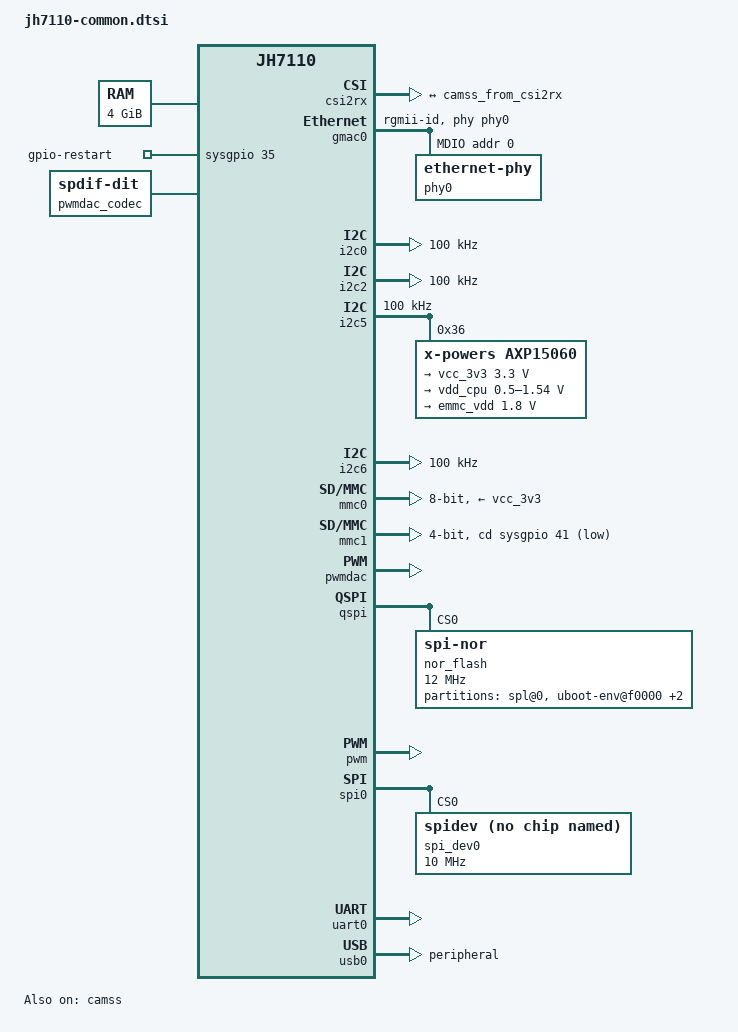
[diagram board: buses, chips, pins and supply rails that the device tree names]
// SPDX-License-Identifier: GPL-2.0 OR MIT
/*
 * Copyright (C) 2022 StarFive Technology Co., Ltd.
 * Copyright (C) 2022 Emil Renner Berthing <kernel@esmil.dk>
 */

/dts-v1/;
#include "jh7110.dtsi"
#include "jh7110-pinfunc.h"
#include <dt-bindings/gpio/gpio.h>

/ {
	aliases {
		ethernet0 = &gmac0;
		i2c0 = &i2c0;
		i2c2 = &i2c2;
		i2c5 = &i2c5;
		i2c6 = &i2c6;
		mmc0 = &mmc0;
		mmc1 = &mmc1;
		serial0 = &uart0;
	};

	chosen {
		stdout-path = "serial0:115200n8";
	};

	memory@40000000 {
		device_type = "memory";
		reg = <0x0 0x40000000 0x1 0x0>;
	};

	gpio-restart {
		compatible = "gpio-restart";
		gpios = <&sysgpio 35 GPIO_ACTIVE_HIGH>;
		priority = <224>;
	};

	pwmdac_codec: audio-codec {
		compatible = "linux,spdif-dit";
		#sound-dai-cells = <0>;
	};

	sound {
		compatible = "simple-audio-card";
		simple-audio-card,name = "StarFive-PWMDAC-Sound-Card";
		#address-cells = <1>;
		#size-cells = <0>;

		simple-audio-card,dai-link@0 {
			reg = <0>;
			format = "left_j";
			bitclock-master = <&sndcpu0>;
			frame-master = <&sndcpu0>;

			sndcpu0: cpu {
				sound-dai = <&pwmdac>;
			};

			codec {
				sound-dai = <&pwmdac_codec>;
			};
		};
	};
};

&cpus {
	timebase-frequency = <4000000>;
};

&dvp_clk {
	clock-frequency = <74250000>;
};

&gmac0_rgmii_rxin {
	clock-frequency = <125000000>;
};

&gmac0_rmii_refin {
	clock-frequency = <50000000>;
};

&gmac1_rgmii_rxin {
	clock-frequency = <125000000>;
};

&gmac1_rmii_refin {
	clock-frequency = <50000000>;
};

&hdmitx0_pixelclk {
	clock-frequency = <297000000>;
};

&i2srx_bclk_ext {
	clock-frequency = <12288000>;
};

&i2srx_lrck_ext {
	clock-frequency = <192000>;
};

&i2stx_bclk_ext {
	clock-frequency = <12288000>;
};

&i2stx_lrck_ext {
	clock-frequency = <192000>;
};

&mclk_ext {
	clock-frequency = <12288000>;
};

&osc {
	clock-frequency = <24000000>;
};

&rtc_osc {
	clock-frequency = <32768>;
};

&tdm_ext {
	clock-frequency = <49152000>;
};

&camss {
	assigned-clocks = <&ispcrg JH7110_ISPCLK_DOM4_APB_FUNC>,
			  <&ispcrg JH7110_ISPCLK_MIPI_RX0_PXL>;
	assigned-clock-rates = <49500000>, <198000000>;
	status = "okay";

	ports {
		#address-cells = <1>;
		#size-cells = <0>;

		port@0 {
			reg = <0>;
		};

		port@1 {
			reg = <1>;

			camss_from_csi2rx: endpoint {
				remote-endpoint = <&csi2rx_to_camss>;
			};
		};
	};
};

&csi2rx {
	assigned-clocks = <&ispcrg JH7110_ISPCLK_VIN_SYS>;
	assigned-clock-rates = <297000000>;
	status = "okay";

	ports {
		#address-cells = <1>;
		#size-cells = <0>;

		port@0 {
			reg = <0>;

			/* remote MIPI sensor endpoint */
		};

		port@1 {
			reg = <1>;

			csi2rx_to_camss: endpoint {
				remote-endpoint = <&camss_from_csi2rx>;
			};
		};
	};
};

&gmac0 {
	phy-handle = <&phy0>;
	phy-mode = "rgmii-id";
	status = "okay";

	mdio {
		#address-cells = <1>;
		#size-cells = <0>;
		compatible = "snps,dwmac-mdio";

		phy0: ethernet-phy@0 {
			reg = <0>;
		};
	};
};

&i2c0 {
	clock-frequency = <100000>;
	i2c-sda-hold-time-ns = <300>;
	i2c-sda-falling-time-ns = <510>;
	i2c-scl-falling-time-ns = <510>;
	pinctrl-names = "default";
	pinctrl-0 = <&i2c0_pins>;
	status = "okay";
};

&i2c2 {
	clock-frequency = <100000>;
	i2c-sda-hold-time-ns = <300>;
	i2c-sda-falling-time-ns = <510>;
	i2c-scl-falling-time-ns = <510>;
	pinctrl-names = "default";
	pinctrl-0 = <&i2c2_pins>;
	status = "okay";
};

&i2c5 {
	clock-frequency = <100000>;
	i2c-sda-hold-time-ns = <300>;
	i2c-sda-falling-time-ns = <510>;
	i2c-scl-falling-time-ns = <510>;
	pinctrl-names = "default";
	pinctrl-0 = <&i2c5_pins>;
	status = "okay";

	axp15060: pmic@36 {
		compatible = "x-powers,axp15060";
		reg = <0x36>;
		interrupt-controller;
		#interrupt-cells = <1>;

		regulators {
			vcc_3v3: dcdc1 {
				regulator-boot-on;
				regulator-always-on;
				regulator-min-microvolt = <3300000>;
				regulator-max-microvolt = <3300000>;
				regulator-name = "vcc_3v3";
			};

			vdd_cpu: dcdc2 {
				regulator-always-on;
				regulator-min-microvolt = <500000>;
				regulator-max-microvolt = <1540000>;
				regulator-name = "vdd-cpu";
			};

			emmc_vdd: aldo4 {
				regulator-boot-on;
				regulator-always-on;
				regulator-min-microvolt = <1800000>;
				regulator-max-microvolt = <1800000>;
				regulator-name = "emmc_vdd";
			};
		};
	};
};

&i2c6 {
	clock-frequency = <100000>;
	i2c-sda-hold-time-ns = <300>;
	i2c-sda-falling-time-ns = <510>;
	i2c-scl-falling-time-ns = <510>;
	pinctrl-names = "default";
	pinctrl-0 = <&i2c6_pins>;
	status = "okay";
};

&mmc0 {
	max-frequency = <100000000>;
	assigned-clocks = <&syscrg JH7110_SYSCLK_SDIO0_SDCARD>;
	assigned-clock-rates = <50000000>;
	bus-width = <8>;
	cap-mmc-highspeed;
	mmc-ddr-1_8v;
	mmc-hs200-1_8v;
	cap-mmc-hw-reset;
	post-power-on-delay-ms = <200>;
	pinctrl-names = "default";
	pinctrl-0 = <&mmc0_pins>;
	vmmc-supply = <&vcc_3v3>;
	vqmmc-supply = <&emmc_vdd>;
	status = "okay";
};

&mmc1 {
	max-frequency = <100000000>;
	assigned-clocks = <&syscrg JH7110_SYSCLK_SDIO1_SDCARD>;
	assigned-clock-rates = <50000000>;
	bus-width = <4>;
	no-sdio;
	no-mmc;
	cd-gpios = <&sysgpio 41 GPIO_ACTIVE_LOW>;
	disable-wp;
	cap-sd-highspeed;
	post-power-on-delay-ms = <200>;
	pinctrl-names = "default";
	pinctrl-0 = <&mmc1_pins>;
	status = "okay";
};

&pwmdac {
	pinctrl-names = "default";
	pinctrl-0 = <&pwmdac_pins>;
	status = "okay";
};

&qspi {
	#address-cells = <1>;
	#size-cells = <0>;
	status = "okay";

	nor_flash: flash@0 {
		compatible = "jedec,spi-nor";
		reg = <0>;
		cdns,read-delay = <5>;
		spi-max-frequency = <12000000>;
		cdns,tshsl-ns = <1>;
		cdns,tsd2d-ns = <1>;
		cdns,tchsh-ns = <1>;
		cdns,tslch-ns = <1>;

		partitions {
			compatible = "fixed-partitions";
			#address-cells = <1>;
			#size-cells = <1>;

			spl@0 {
				reg = <0x0 0x80000>;
			};
			uboot-env@f0000 {
				reg = <0xf0000 0x10000>;
			};
			uboot@100000 {
				reg = <0x100000 0x400000>;
			};
			reserved-data@600000 {
				reg = <0x600000 0xa00000>;
			};
		};
	};
};

&pwm {
	pinctrl-names = "default";
	pinctrl-0 = <&pwm_pins>;
	status = "okay";
};

&spi0 {
	pinctrl-names = "default";
	pinctrl-0 = <&spi0_pins>;
	status = "okay";

	spi_dev0: spi@0 {
		compatible = "rohm,dh2228fv";
		reg = <0>;
		spi-max-frequency = <10000000>;
	};
};

&sysgpio {
	i2c0_pins: i2c0-0 {
		i2c-pins {
			pinmux = <GPIOMUX(57, GPOUT_LOW,
					      GPOEN_SYS_I2C0_CLK,
					      GPI_SYS_I2C0_CLK)>,
				 <GPIOMUX(58, GPOUT_LOW,
					      GPOEN_SYS_I2C0_DATA,
					      GPI_SYS_I2C0_DATA)>;
			bias-disable; /* external pull-up */
			input-enable;
			input-schmitt-enable;
		};
	};

	i2c2_pins: i2c2-0 {
		i2c-pins {
			pinmux = <GPIOMUX(3, GPOUT_LOW,
					     GPOEN_SYS_I2C2_CLK,
					     GPI_SYS_I2C2_CLK)>,
				 <GPIOMUX(2, GPOUT_LOW,
					     GPOEN_SYS_I2C2_DATA,
					     GPI_SYS_I2C2_DATA)>;
			bias-disable; /* external pull-up */
			input-enable;
			input-schmitt-enable;
		};
	};

	i2c5_pins: i2c5-0 {
		i2c-pins {
			pinmux = <GPIOMUX(19, GPOUT_LOW,
					      GPOEN_SYS_I2C5_CLK,
					      GPI_SYS_I2C5_CLK)>,
				 <GPIOMUX(20, GPOUT_LOW,
					      GPOEN_SYS_I2C5_DATA,
					      GPI_SYS_I2C5_DATA)>;
			bias-disable; /* external pull-up */
			input-enable;
			input-schmitt-enable;
		};
	};

	i2c6_pins: i2c6-0 {
		i2c-pins {
			pinmux = <GPIOMUX(16, GPOUT_LOW,
					      GPOEN_SYS_I2C6_CLK,
					      GPI_SYS_I2C6_CLK)>,
				 <GPIOMUX(17, GPOUT_LOW,
					      GPOEN_SYS_I2C6_DATA,
					      GPI_SYS_I2C6_DATA)>;
			bias-disable; /* external pull-up */
			input-enable;
			input-schmitt-enable;
		};
	};

	mmc0_pins: mmc0-0 {
		 rst-pins {
			pinmux = <GPIOMUX(62, GPOUT_SYS_SDIO0_RST,
					      GPOEN_ENABLE,
					      GPI_NONE)>;
			bias-pull-up;
			drive-strength = <12>;
			input-disable;
			input-schmitt-disable;
			slew-rate = <0>;
		};

		mmc-pins {
			pinmux = <PINMUX(64, 0)>,
				 <PINMUX(65, 0)>,
				 <PINMUX(66, 0)>,
				 <PINMUX(67, 0)>,
				 <PINMUX(68, 0)>,
				 <PINMUX(69, 0)>,
				 <PINMUX(70, 0)>,
				 <PINMUX(71, 0)>,
				 <PINMUX(72, 0)>,
				 <PINMUX(73, 0)>;
			bias-pull-up;
			drive-strength = <12>;
			input-enable;
		};
	};

	mmc1_pins: mmc1-0 {
		clk-pins {
			pinmux = <GPIOMUX(10, GPOUT_SYS_SDIO1_CLK,
					      GPOEN_ENABLE,
					      GPI_NONE)>;
			bias-pull-up;
			drive-strength = <12>;
			input-disable;
			input-schmitt-disable;
			slew-rate = <0>;
		};

		mmc-pins {
			pinmux = <GPIOMUX(9, GPOUT_SYS_SDIO1_CMD,
					     GPOEN_SYS_SDIO1_CMD,
					     GPI_SYS_SDIO1_CMD)>,
				 <GPIOMUX(11, GPOUT_SYS_SDIO1_DATA0,
					      GPOEN_SYS_SDIO1_DATA0,
					      GPI_SYS_SDIO1_DATA0)>,
				 <GPIOMUX(12, GPOUT_SYS_SDIO1_DATA1,
					      GPOEN_SYS_SDIO1_DATA1,
					      GPI_SYS_SDIO1_DATA1)>,
				 <GPIOMUX(7, GPOUT_SYS_SDIO1_DATA2,
					     GPOEN_SYS_SDIO1_DATA2,
					     GPI_SYS_SDIO1_DATA2)>,
				 <GPIOMUX(8, GPOUT_SYS_SDIO1_DATA3,
					     GPOEN_SYS_SDIO1_DATA3,
					     GPI_SYS_SDIO1_DATA3)>;
			bias-pull-up;
			drive-strength = <12>;
			input-enable;
			input-schmitt-enable;
			slew-rate = <0>;
		};
	};

	pwmdac_pins: pwmdac-0 {
		pwmdac-pins {
			pinmux = <GPIOMUX(33, GPOUT_SYS_PWMDAC_LEFT,
					      GPOEN_ENABLE,
					      GPI_NONE)>,
				 <GPIOMUX(34, GPOUT_SYS_PWMDAC_RIGHT,
					      GPOEN_ENABLE,
					      GPI_NONE)>;
			bias-disable;
			drive-strength = <2>;
			input-disable;
			input-schmitt-disable;
			slew-rate = <0>;
		};
	};

	pwm_pins: pwm-0 {
		pwm-pins {
			pinmux = <GPIOMUX(46, GPOUT_SYS_PWM_CHANNEL0,
					      GPOEN_SYS_PWM0_CHANNEL0,
					      GPI_NONE)>,
				 <GPIOMUX(59, GPOUT_SYS_PWM_CHANNEL1,
					      GPOEN_SYS_PWM0_CHANNEL1,
					      GPI_NONE)>;
			bias-disable;
			drive-strength = <12>;
			input-disable;
			input-schmitt-disable;
			slew-rate = <0>;
		};
	};

	spi0_pins: spi0-0 {
		mosi-pins {
			pinmux = <GPIOMUX(52, GPOUT_SYS_SPI0_TXD,
					      GPOEN_ENABLE,
					      GPI_NONE)>;
			bias-disable;
			input-disable;
			input-schmitt-disable;
		};

		miso-pins {
			pinmux = <GPIOMUX(53, GPOUT_LOW,
					      GPOEN_DISABLE,
					      GPI_SYS_SPI0_RXD)>;
			bias-pull-up;
			input-enable;
			input-schmitt-enable;
		};

		sck-pins {
			pinmux = <GPIOMUX(48, GPOUT_SYS_SPI0_CLK,
					      GPOEN_ENABLE,
					      GPI_SYS_SPI0_CLK)>;
			bias-disable;
			input-disable;
			input-schmitt-disable;
		};

		ss-pins {
			pinmux = <GPIOMUX(49, GPOUT_SYS_SPI0_FSS,
					      GPOEN_ENABLE,
					      GPI_SYS_SPI0_FSS)>;
			bias-disable;
			input-disable;
			input-schmitt-disable;
		};
	};

	uart0_pins: uart0-0 {
		tx-pins {
			pinmux = <GPIOMUX(5, GPOUT_SYS_UART0_TX,
					     GPOEN_ENABLE,
					     GPI_NONE)>;
			bias-disable;
			drive-strength = <12>;
			input-disable;
			input-schmitt-disable;
			slew-rate = <0>;
		};

		rx-pins {
			pinmux = <GPIOMUX(6, GPOUT_LOW,
					     GPOEN_DISABLE,
					     GPI_SYS_UART0_RX)>;
			bias-disable; /* external pull-up */
			drive-strength = <2>;
			input-enable;
			input-schmitt-enable;
			slew-rate = <0>;
		};
	};
};

&uart0 {
	pinctrl-names = "default";
	pinctrl-0 = <&uart0_pins>;
	status = "okay";
};

&usb0 {
	dr_mode = "peripheral";
	status = "okay";
};

&U74_1 {
	cpu-supply = <&vdd_cpu>;
};

&U74_2 {
	cpu-supply = <&vdd_cpu>;
};

&U74_3 {
	cpu-supply = <&vdd_cpu>;
};

&U74_4 {
	cpu-supply = <&vdd_cpu>;
};
